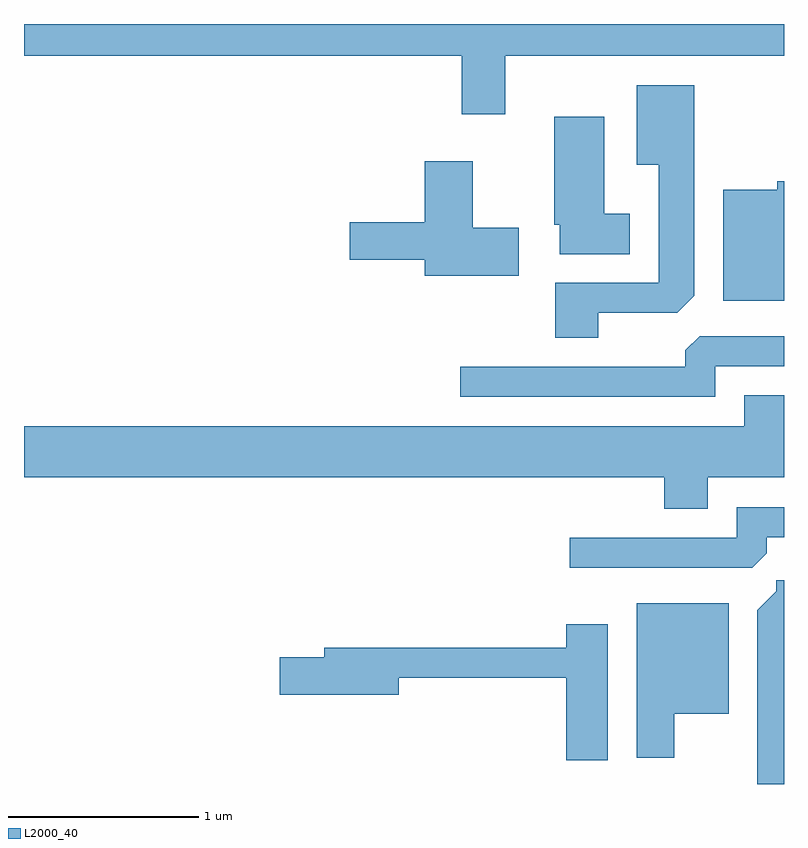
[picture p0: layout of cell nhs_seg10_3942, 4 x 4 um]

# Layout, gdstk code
import gdstk
lib = gdstk.Library(unit=1e-6, precision=1e-09)
def P(c, l, *ps):  # polygons
    for p in ps: c.add(gdstk.Polygon(p, *l))
L2000_40 = (2000, 40)

nhs_seg10_3942 = lib.new_cell('nhs_seg10_3942')
P(nhs_seg10_3942, L2000_40, [(301.611,2118.356),(303.916,2118.356),(303.916,2118.046),(304.144,2118.046),(304.144,2118.356),(305.611,2118.356),(305.611,2118.522),(301.611,2118.522)],
  [(304.634,2117.001),(305.049,2117.001),(305.139,2117.092),(305.139,2118.199),(304.836,2118.199),(304.836,2117.781),(304.951,2117.781),(304.951,2117.159),(304.406,2117.159),(304.406,2116.871),(304.634,2116.871)],
  [(304.799,2117.524),(304.664,2117.524),(304.664,2118.034),(304.401,2118.034),(304.401,2117.466),(304.431,2117.466),(304.431,2117.311),(304.799,2117.311)],
  [(304.214,2117.449),(303.974,2117.449),(303.974,2117.799),(303.721,2117.799),(303.721,2117.479),(303.326,2117.479),(303.326,2117.281),(303.721,2117.281),(303.721,2117.196),(304.214,2117.196)],
  [(305.611,2117.694),(305.576,2117.694),(305.576,2117.649),(305.291,2117.649),(305.291,2117.066),(305.611,2117.066)],
  [(305.249,2116.721),(305.611,2116.721),(305.611,2116.879),(305.167,2116.879),(305.091,2116.804),(305.091,2116.719),(303.908,2116.719),(303.908,2116.561),(305.249,2116.561)],
  [(305.209,2116.136),(305.611,2116.136),(305.611,2116.569),(305.401,2116.569),(305.401,2116.404),(301.611,2116.404),(301.611,2116.136),(304.981,2116.136),(304.981,2115.971),(305.209,2115.971)],
  [(305.519,2115.737),(305.519,2115.821),(305.611,2115.821),(305.611,2115.979),(305.361,2115.979),(305.361,2115.819),(304.483,2115.819),(304.483,2115.661),(305.444,2115.661)],
  [(305.611,2115.594),(305.571,2115.594),(305.571,2115.537),(305.471,2115.437),(305.471,2114.522),(305.611,2114.522)],
  [(305.034,2114.891),(305.319,2114.891),(305.319,2115.474),(304.836,2115.474),(304.836,2114.661),(305.034,2114.661)],
  [(304.684,2115.364),(304.466,2115.364),(304.466,2115.239),(303.191,2115.239),(303.191,2115.189),(302.956,2115.189),(302.956,2114.991),(303.584,2114.991),(303.584,2115.081),(304.466,2115.081),(304.466,2114.646),(304.684,2114.646)])

lib.write_gds('nhs_seg10_3942.gds')
